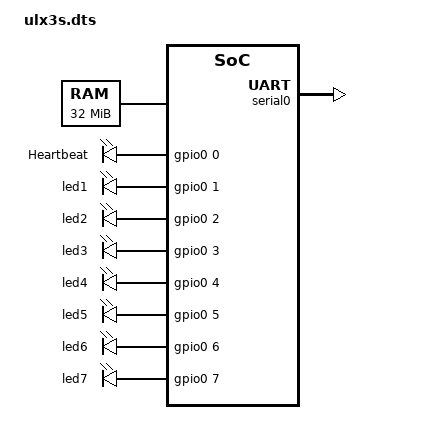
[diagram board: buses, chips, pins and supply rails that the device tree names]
/dts-v1/;
/ {
	compatible = "opencores,ulx3s";
	#address-cells = <1>;
	#size-cells = <1>;
	interrupt-parent = <&pic>;

	chosen {
		bootargs = "console=uart,mmio,0x90000000,57600";
	};

	memory@0 {
		device_type = "memory";
		reg = <0x00000000 0x02000000>;
	};

	cpus {
		#address-cells = <1>;
		#size-cells = <0>;
		cpu@0 {
			compatible = "opencores,or1200-rtlsvn481";
			reg = <0>;
			clock-frequency = <25000000>;
		};
	};

	/*
	 * OR1K PIC is built into CPU and accessed via special purpose
	 * registers.  It is not addressable and, hence, has no 'reg'
	 * property.
	 */
	pic: pic {
		compatible = "opencores,or1k-pic";
		#interrupt-cells = <1>;
		interrupt-controller;
	};

	serial0: serial@90000000 {
		compatible = "opencores,uart16550-rtlsvn105", "ns16550a";
		reg = <0x90000000 0x100>;
		interrupts = <2>;
		clock-frequency = <25000000>;
	};


	gpio0: gpio@91000000 {
		compatible = "opencores,jbtrivial";
		reg = <0x91000000 0x2>;
		#gpio-cells = <2>;
		gpio-controller;
		xlnx,data-offset = <0>;
		xlnx,tri-offset = <1>;
		xlnx,gpio-width = <8>;
	};

	gpio-leds {
		compatible = "gpio-leds";
		heartbeat {
			label = "Heartbeat";
			gpios = <&gpio0 0 0x0>;
			linux,default-trigger = "heartbeat";
		};
		led1 {
			label = "led1";
			gpios = <&gpio0 1 0>;
		};
		led2 {
			label = "led2";
			gpios = <&gpio0 2 0>;
		};
		led3 {
			label = "led3";
			gpios = <&gpio0 3 0>;
		};
		led4 {
			label = "led4";
			gpios = <&gpio0 4 0>;
		};
		led5 {
			label = "led5";
			gpios = <&gpio0 5 0>;
		};
		led6 {
			label = "led6";
			gpios = <&gpio0 6 0>;
		};
		led7 {
			label = "led7";
			gpios = <&gpio0 7 0>;
		};
	};
};
